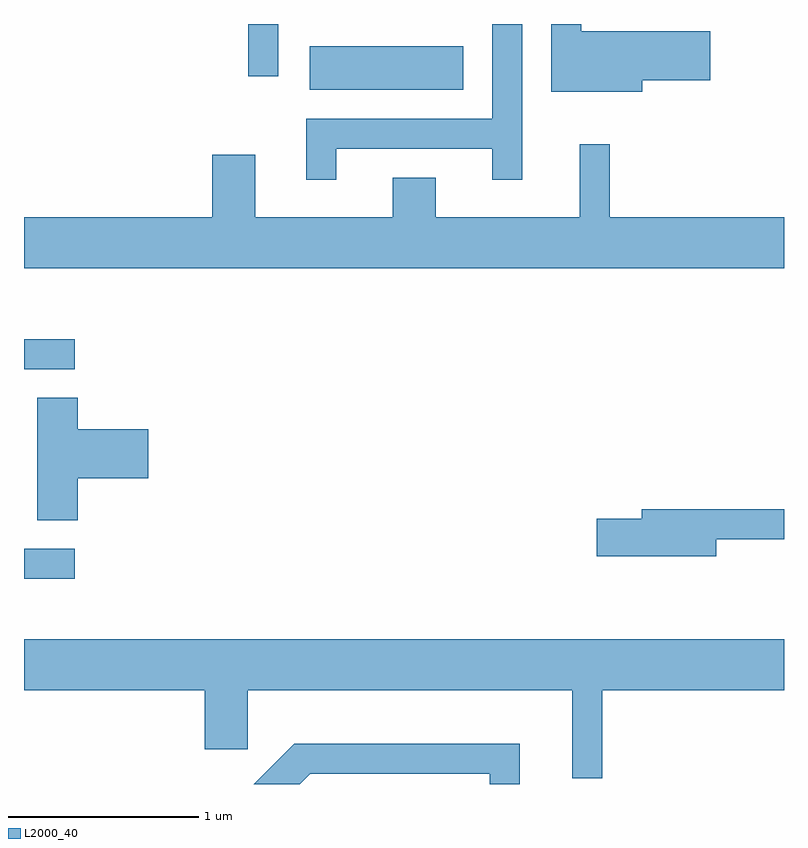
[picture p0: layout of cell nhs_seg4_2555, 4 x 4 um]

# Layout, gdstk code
import gdstk
lib = gdstk.Library(unit=1e-6, precision=1e-09)
def R(c, l, rs):  # rectangles x0, y0, x1, y1
    for r in rs: c.add(gdstk.rectangle(r[:2], r[2:], *l))
def P(c, l, *ps):  # polygons
    for p in ps: c.add(gdstk.Polygon(p, *l))
L2000_40 = (2000, 40)

nhs_seg4_2555 = lib.new_cell('nhs_seg4_2555')
R(nhs_seg4_2555, L2000_40, [(259.611,1333.061,259.878,1333.219), (259.611,1334.166,259.878,1334.324), (261.116,1335.636,261.924,1335.864), (260.791,1335.708,260.949,1335.982)])
P(nhs_seg4_2555, L2000_40, [(261.254,1335.326),(262.076,1335.326),(262.076,1335.163),(262.234,1335.163),(262.234,1335.982),(262.076,1335.982),(262.076,1335.484),(261.096,1335.484),(261.096,1335.163),(261.254,1335.163)],
  [(262.864,1335.686),(263.224,1335.686),(263.224,1335.944),(262.544,1335.944),(262.544,1335.982),(262.386,1335.982),(262.386,1335.626),(262.864,1335.626)],
  [(263.611,1334.964),(262.694,1334.964),(262.694,1335.348),(262.536,1335.348),(262.536,1334.964),(261.779,1334.964),(261.779,1335.174),(261.551,1335.174),(261.551,1334.964),(260.829,1334.964),(260.829,1335.294),(260.601,1335.294),(260.601,1334.964),(259.611,1334.964),(259.611,1334.696),(263.611,1334.696)],
  [(259.894,1333.591),(260.264,1333.591),(260.264,1333.849),(259.894,1333.849),(259.894,1334.014),(259.681,1334.014),(259.681,1333.371),(259.894,1333.371)],
  [(263.254,1333.271),(263.611,1333.271),(263.611,1333.429),(262.861,1333.429),(262.861,1333.379),(262.626,1333.379),(262.626,1333.181),(263.254,1333.181)],
  [(262.654,1332.476),(263.611,1332.476),(263.611,1332.744),(259.611,1332.744),(259.611,1332.476),(260.561,1332.476),(260.561,1332.166),(260.789,1332.166),(260.789,1332.476),(262.496,1332.476),(262.496,1332.013),(262.654,1332.013)],
  [(261.117,1332.036),(262.061,1332.036),(262.061,1331.982),(262.219,1331.982),(262.219,1332.194),(261.034,1332.194),(260.821,1331.982),(261.063,1331.982)])

lib.write_gds('nhs_seg4_2555.gds')
